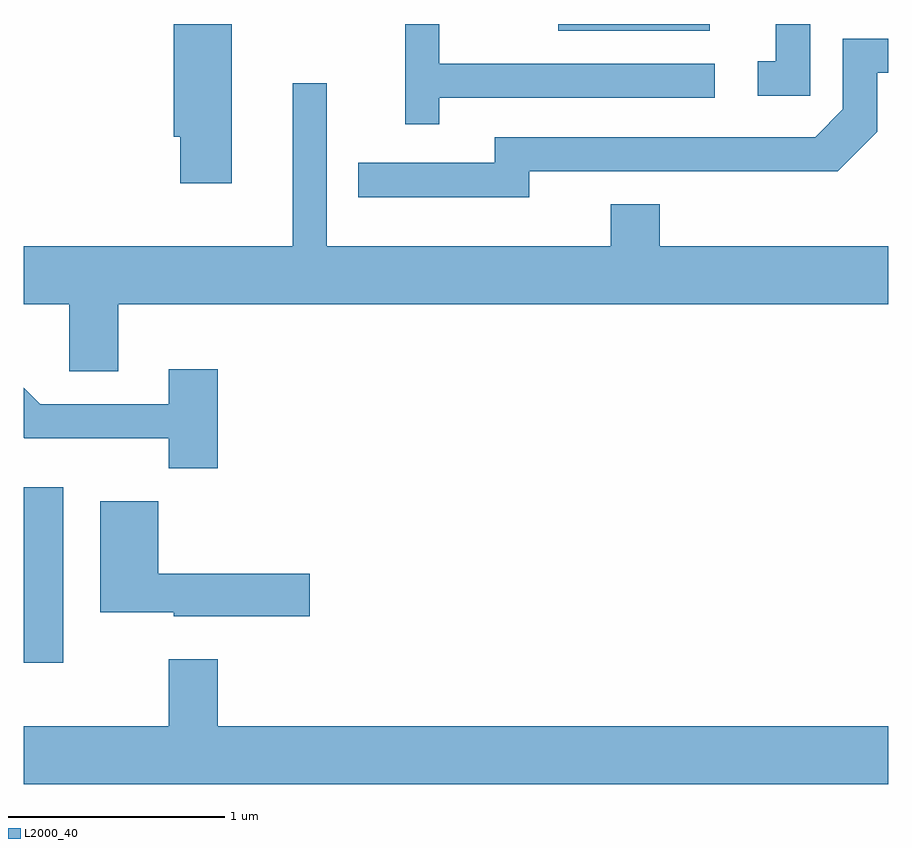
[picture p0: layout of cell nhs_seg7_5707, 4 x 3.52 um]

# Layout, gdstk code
import gdstk
lib = gdstk.Library(unit=1e-6, precision=1e-09)
def R(c, l, rs):  # rectangles x0, y0, x1, y1
    for r in rs: c.add(gdstk.rectangle(r[:2], r[2:], *l))
def P(c, l, *ps):  # polygons
    for p in ps: c.add(gdstk.Polygon(p, *l))
L2000_40 = (2000, 40)

nhs_seg7_5707 = lib.new_cell('nhs_seg7_5707')
R(nhs_seg7_5707, L2000_40, [(359.611,1739.296,359.794,1740.109), (362.083,1742.221,362.784,1742.252)])
P(nhs_seg7_5707, L2000_40, [(361.534,1741.911),(362.808,1741.911),(362.808,1742.069),(361.534,1742.069),(361.534,1742.252),(361.376,1742.252),(361.376,1741.788),(361.534,1741.788)],
  [(360.574,1742.252),(360.306,1742.252),(360.306,1741.731),(360.336,1741.731),(360.336,1741.516),(360.574,1741.516)],
  [(363.249,1742.252),(363.091,1742.252),(363.091,1742.079),(363.008,1742.079),(363.008,1741.921),(363.249,1741.921)],
  [(361.949,1741.571),(363.377,1741.571),(363.559,1741.754),(363.559,1742.026),(363.611,1742.026),(363.611,1742.184),(363.401,1742.184),(363.401,1741.857),(363.274,1741.729),(361.791,1741.729),(361.791,1741.609),(361.158,1741.609),(361.158,1741.451),(361.949,1741.451)],
  [(363.611,1741.224),(362.554,1741.224),(362.554,1741.419),(362.326,1741.419),(362.326,1741.224),(361.014,1741.224),(361.014,1741.978),(360.856,1741.978),(360.856,1741.224),(359.611,1741.224),(359.611,1740.956),(359.821,1740.956),(359.821,1740.646),(360.049,1740.646),(360.049,1740.956),(363.611,1740.956)],
  [(360.509,1740.654),(360.281,1740.654),(360.281,1740.494),(359.687,1740.494),(359.611,1740.57),(359.611,1740.339),(359.614,1740.336),(360.281,1740.336),(360.281,1740.196),(360.509,1740.196)],
  [(360.934,1739.709),(360.234,1739.709),(360.234,1740.044),(359.966,1740.044),(359.966,1739.531),(360.306,1739.531),(360.306,1739.511),(360.934,1739.511)],
  [(363.611,1739.004),(360.509,1739.004),(360.509,1739.314),(360.281,1739.314),(360.281,1739.004),(359.611,1739.004),(359.611,1738.736),(363.611,1738.736)])

lib.write_gds('nhs_seg7_5707.gds')
